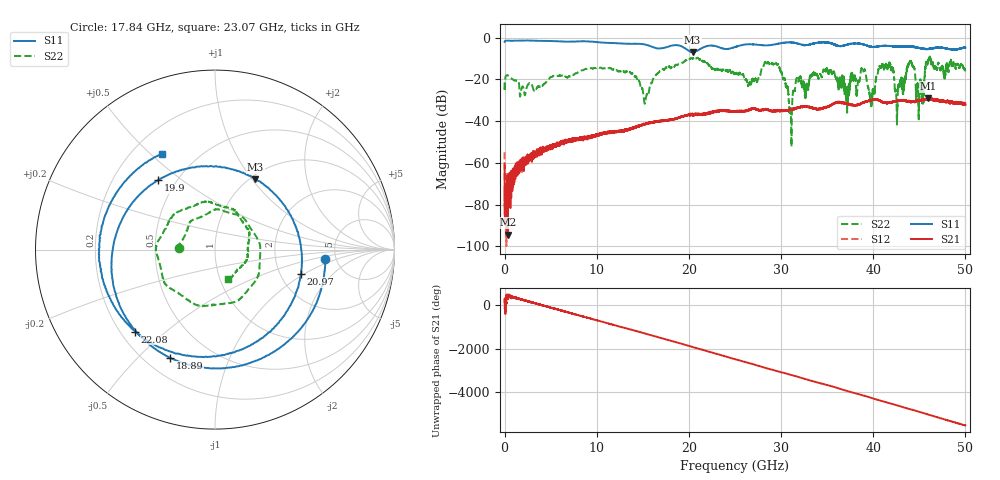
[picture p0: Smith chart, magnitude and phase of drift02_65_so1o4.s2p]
!Created with skrf (http://scikit-rf.org).
# Hz S RI R 50.0
!freq ReS11 ImS11 ReS21 ImS21 ReS12 ImS12 ReS22 ImS22
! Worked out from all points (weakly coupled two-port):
!   10001 points, 300 kHz to 50 GHz, reference 50 ohm
!   highest |S21| = -29.02 dB at 45.97 GHz (marker M1); lowest = -94.3 dB at 345.3 MHz (marker M2)
!   lowest |S11| = -6.9 dB at 20.4 GHz (marker M3), VSWR 2.65, Z = 52.8 + j52 ohm
!   |S11| at or under -10 dB: nowhere
!   |S22| runs from -52.3 to -9.0 dB; largest |S21 - S12| = 0.0031
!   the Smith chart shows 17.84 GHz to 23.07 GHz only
!   S11 on the Smith chart (normalised r, x): 17.84 GHz: 4.07, -0.72; 18.89 GHz: 0.30, -0.63; 19.9 GHz: 0.40, +0.41; 20.97 GHz: 2.59, -0.93; 22.08 GHz: 0.26, -0.40; 23.07 GHz: 0.32, +0.55
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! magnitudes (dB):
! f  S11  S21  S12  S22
! 300 kHz  -2.1  -60.2  -54.9  -21.5
! 345.3 MHz  -1.4  -94.3  -72.6  -18.0
! 8.335 GHz  -1.7  -48.4  -48.3  -15.7
! 15.33 GHz  -3.4  -41.2  -41.3  -29.1
! 16.67 GHz  -5.2  -40.0  -40.2  -17.0
! 17.84 GHz  -4.2  -39.5  -39.6  -13.9
! 18.89 GHz  -3.7  -38.3  -38.5  -12.6
! 19.9 GHz  -6.0  -37.1  -37.1  -10.2
! 20.4 GHz  -6.9  -36.8  -36.9  -10.0
! 20.97 GHz  -6.1  -36.9  -36.4  -9.7
! 22.08 GHz  -3.9  -36.2  -36.3  -12.8
! 23.07 GHz  -4.3  -35.3  -35.1  -14.9
! 25 GHz  -4.5  -35.5  -35.3  -17.5
! 29.51 GHz  -3.1  -35.0  -35.1  -12.6
! 31.03 GHz  -2.3  -34.4  -34.6  -33.7
! 33.34 GHz  -3.0  -33.6  -33.4  -18.2
! 39.74 GHz  -4.3  -30.0  -30.0  -31.0
! 41.67 GHz  -4.0  -31.1  -31.1  -13.2
! 44.17 GHz  -4.2  -30.6  -30.7  -12.0
! 44.85 GHz  -4.8  -29.9  -30.2  -24.3
! 45.97 GHz  -5.4  -29.0  -29.3  -10.8
! 50 GHz  -4.8  -32.2  -32.0  -15.8
